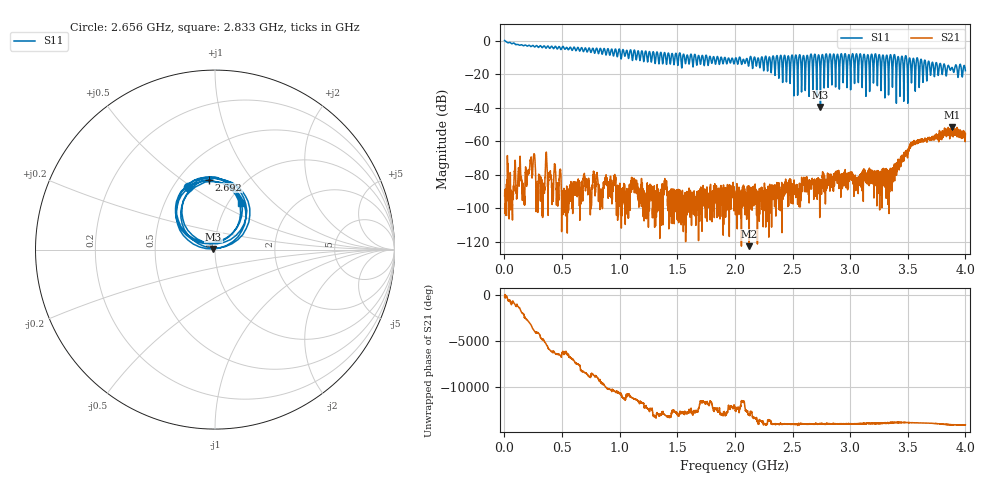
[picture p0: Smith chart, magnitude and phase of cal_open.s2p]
!Created with skrf (http://scikit-rf.org).
# GHz S RI R 50.0
!freq ReS11 ImS11 ReS21 ImS21 ReS12 ImS12 ReS22 ImS22
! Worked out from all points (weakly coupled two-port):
!   4000 points, 1 MHz to 4 GHz, reference 50 ohm
!   highest |S21| = -51.40 dB at 3.883 GHz (marker M1); lowest = -122.6 dB at 2.124 GHz (marker M2)
!   lowest |S11| = -39.4 dB at 2.742 GHz (marker M3), VSWR 1.02, Z = 49 + j0.355 ohm
!   |S11| at or under -10 dB: 1.914 GHz to 2.038 GHz (123.3 MHz wide, 6.24 % of centre); 2.044 GHz to 2.131 GHz (86.36 MHz wide, 4.14 % of centre); 3.488 GHz to end of sweep (the widest 3 of 70)
!   S12 and S22 are empty: the file has one direction only
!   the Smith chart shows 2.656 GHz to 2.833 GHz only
!   S11 on the Smith chart (normalised r, x): 2.656 GHz: 0.59, +0.48; 2.692 GHz: 0.69, +0.64; 2.833 GHz: 1.14, +0.64
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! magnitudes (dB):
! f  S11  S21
! 1 MHz  0.2  -92.5
! 178 MHz  -2.6  -85.7
! 244 MHz  -2.8  -77.1
! 290 MHz  -3.8  -97.5
! 374 MHz  -3.2  -87.0
! 393 MHz  -4.5  -79.0
! 668 MHz  -4.1  -84.9
! 1.334 GHz  -10.1  -96.8
! 2.001 GHz  -11.3  -92.5
! 2.124 GHz  -12.9  -122.6
! 2.656 GHz  -8.4  -84.4
! 2.667 GHz  -9.6  -82.4
! 2.692 GHz  -8.2  -85.2
! 2.742 GHz  -39.4  -91.8
! 2.833 GHz  -10.6  -79.6
! 3.203 GHz  -24.0  -82.1
! 3.317 GHz  -8.6  -83.8
! 3.334 GHz  -30.1  -81.9
! 3.417 GHz  -9.4  -70.6
! 3.54 GHz  -13.5  -60.4
! 3.883 GHz  -15.9  -51.4
! 4 GHz  -17.9  -55.4
